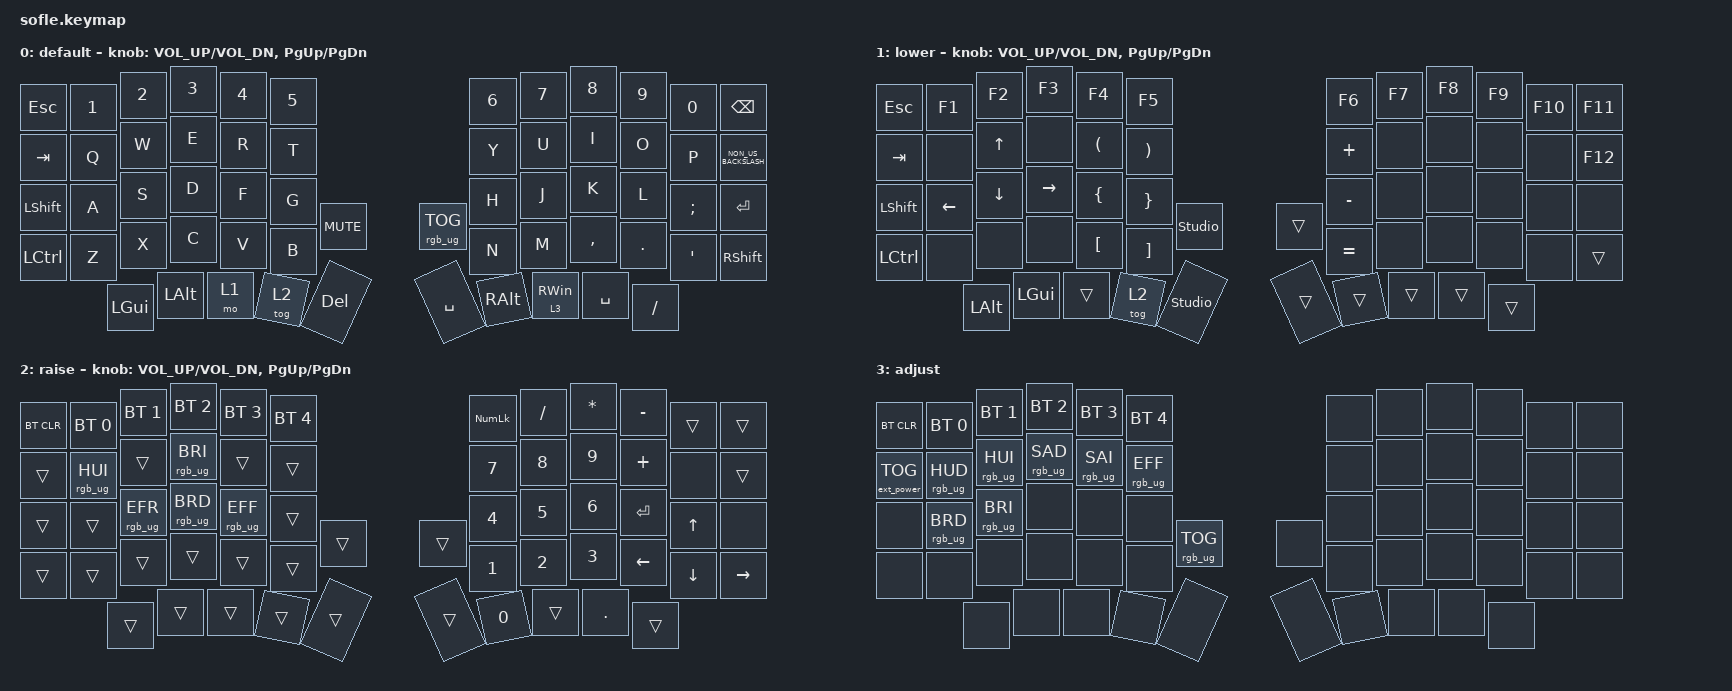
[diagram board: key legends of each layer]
/*
 * Copyright (c) 2020 The ZMK Contributors
 *
 * SPDX-License-Identifier: MIT
 */

#include <behaviors.dtsi>
#include <dt-bindings/zmk/bt.h>
#include <dt-bindings/zmk/ext_power.h>
#include <dt-bindings/zmk/keys.h>
#include <dt-bindings/zmk/rgb.h>

#define BASE 0
#define LOWER 1
#define RAISE 2
#define ADJUST 3

/ {
    // Activate ADJUST layer by pressing raise and lower

    conditional_layers {
        compatible = "zmk,conditional-layers";

        adjust_layer {
            if-layers = <LOWER RAISE>;
            then-layer = <ADJUST>;
        };
    };

    keymap {
        compatible = "zmk,keymap";

        default_layer {
            display-name = "default";

            // ------------------------------------------------------------------------------------------------------------
            // |   `   |  1  |  2  |  3   |  4   |  5   |                   |  6   |  7    |  8    |  9   |   0   |       |
            // |  ESC  |  Q  |  W  |  E   |  R   |  T   |                   |  Y   |  U    |  I    |  O   |   P   | BKSPC |
            // |  TAB  |  A  |  S  |  D   |  F   |  G   |                   |  H   |  J    |  K    |  L   |   ;   |   '   |
            // | SHIFT |  Z  |  X  |  C   |  V   |  B   |  MUTE  |  |       |  N   |  M    |  ,    |  .   |   /   | SHIFT |
            //               | GUI | ALT  | CTRL | LOWER|  ENTER |  | SPACE | RAISE| CTRL  | ALT   | GUI  |

            bindings = <
&kp ESCAPE      &kp N1  &kp N2    &kp N3    &kp N4  &kp N5                                 &kp N6         &kp N7           &kp N8     &kp N9     &kp N0    &kp BACKSPACE
&kp TAB         &kp Q   &kp W     &kp E     &kp R   &kp T                                  &kp Y          &kp U            &kp I      &kp O      &kp P     &kp NON_US_BACKSLASH
&kp LEFT_SHIFT  &kp A   &kp S     &kp D     &kp F   &kp G                                  &kp H          &kp J            &kp K      &kp L      &kp SEMI  &kp ENTER
&kp LCTRL       &kp Z   &kp X     &kp C     &kp V   &kp B   &kp C_MUTE    &rgb_ug RGB_TOG  &kp N          &kp M            &kp COMMA  &kp DOT    &kp SQT   &kp RSHFT
                        &kp LGUI  &kp LALT  &mo 1   &tog 2  &kp DEL       &kp SPACE        &kp RIGHT_ALT  &lt 3 RIGHT_WIN  &kp SPACE  &kp SLASH
            >;

            sensor-bindings = <&inc_dec_kp C_VOL_UP C_VOL_DN &inc_dec_kp PG_UP PG_DN>;
        };

        lower_layer {
            display-name = "lower";

            // TODO: Some binds are waiting for shifted keycode support.
            // ------------------------------------------------------------------------------------------------------------
            // |       |  F1 |  F2 |  F3  |  F4  |  F5  |                   |  F6  |  F7   |  F8   |  F9  |  F10  |  F11  |
            // |   `   |  1  |  2  |  3   |  4   |  5   |                   |  6   |  7    |  8    |  9   |   0   |  F12  |
            // |       |  !  |  @  |  #   |  $   |  %   |                   |  ^   |  &    |  *    |  (   |   )   |   |   |
            // |       |  =  |  -  |  +   |  {   |  }   |        |  |       |  [   |  ]    |  ;    |  :   |   \   |       |
            //               |     |      |      |      |        |  |       |      |       |       |      |

            bindings = <
&kp ESCAPE      &kp F1          &kp F2        &kp F3           &kp F4                &kp F5                                           &kp F6     &kp F7  &kp F8  &kp F9  &kp F10  &kp F11
&kp TAB         &none           &kp UP_ARROW  &none            &kp LEFT_PARENTHESIS  &kp RIGHT_PARENTHESIS                            &kp PLUS   &none   &none   &none   &none    &kp F12
&kp LEFT_SHIFT  &kp LEFT_ARROW  &kp DOWN      &kp RIGHT_ARROW  &kp LEFT_BRACE        &kp RIGHT_BRACE                                  &kp MINUS  &none   &none   &none   &none    &none
&kp LCTRL       &none           &none         &none            &kp LEFT_BRACKET      &kp RIGHT_BRACKET      &studio_unlock    &trans  &kp EQUAL  &none   &none   &none   &none    &trans
                                &kp LEFT_ALT  &kp LGUI         &trans                &tog 2                 &studio_unlock    &trans  &trans     &trans  &trans  &trans
            >;

            sensor-bindings = <&inc_dec_kp C_VOL_UP C_VOL_DN &inc_dec_kp PG_UP PG_DN>;
        };

        raise_layer {
            display-name = "raise";

            // ------------------------------------------------------------------------------------------------------------
            // | BTCLR | BT1  | BT2  |  BT3  |  BT4  |  BT5 |                |      |      |       |      |       |       |
            // |       | INS  | PSCR | GUI   |       |      |                | PGUP |      |   ^   |      |       |       |
            // |       | ALT  | CTRL | SHIFT |       | CAPS |                | PGDN |   <- |   v   |  ->  |  DEL  | BKSPC |
            // |       | UNDO | CUT  | COPY  | PASTE |      |      |  |      |      |      |       |      |       |       |
            //                |      |       |       |      |      |  |      |      |      |       |      |

            bindings = <
&bt BT_CLR  &bt BT_SEL 0     &bt BT_SEL 1     &bt BT_SEL 2     &bt BT_SEL 3     &bt BT_SEL 4                    &kp KP_NUMLOCK  &kp SLASH     &kp ASTERISK  &kp MINUS       &trans        &trans
&trans      &rgb_ug RGB_HUI  &trans           &rgb_ug RGB_BRI  &trans           &trans                          &kp NUMBER_7    &kp NUMBER_8  &kp NUMBER_9  &kp PLUS        &none         &trans
&trans      &trans           &rgb_ug RGB_EFR  &rgb_ug RGB_BRD  &rgb_ug RGB_EFF  &trans                          &kp NUMBER_4    &kp NUMBER_5  &kp NUMBER_6  &kp ENTER       &kp UP_ARROW  &none
&trans      &trans           &trans           &trans           &trans           &trans        &trans    &trans  &kp NUMBER_1    &kp NUMBER_2  &kp NUMBER_3  &kp LEFT_ARROW  &kp DOWN      &kp RIGHT_ARROW
                             &trans           &trans           &trans           &trans        &trans    &trans  &kp NUMBER_0    &trans        &kp PERIOD    &trans
            >;

            sensor-bindings = <&inc_dec_kp C_VOL_UP C_VOL_DN &inc_dec_kp PG_UP PG_DN>;
        };

        adjust_layer {
            // ----------------------------------------------------------------------------------------------------------------------------
            // | BTCLR  |  BT1    |  BT2    |   BT3   |   BT4   |   BT5   |                  |      |      |       |      |       |       |
            // | EXTPWR | RGB_HUD | RGB_HUI | RGB_SAD | RGB_SAI | RGB_EFF |                  |      |      |       |      |       |       |
            // |        | RGB_BRD | RGB_BRI |         |         |         |                  |      |      |       |      |       |       |
            // |        |         |         |         |         |         | RGB_TOG | |      |      |      |       |      |       |       |
            //                    |         |         |         |         |         | |      |      |      |       |      |

            display-name = "adjust";
            bindings = <
&bt BT_CLR         &bt BT_SEL 0     &bt BT_SEL 1     &bt BT_SEL 2     &bt BT_SEL 3     &bt BT_SEL 4                               &none  &none  &none  &none  &none  &none
&ext_power EP_TOG  &rgb_ug RGB_HUD  &rgb_ug RGB_HUI  &rgb_ug RGB_SAD  &rgb_ug RGB_SAI  &rgb_ug RGB_EFF                            &none  &none  &none  &none  &none  &none
&none              &rgb_ug RGB_BRD  &rgb_ug RGB_BRI  &none            &none            &none                                      &none  &none  &none  &none  &none  &none
&none              &none            &none            &none            &none            &none            &rgb_ug RGB_TOG    &none  &none  &none  &none  &none  &none  &none
                                    &none            &none            &none            &none            &none              &none  &none  &none  &none  &none
            >;
        };
    };
};
